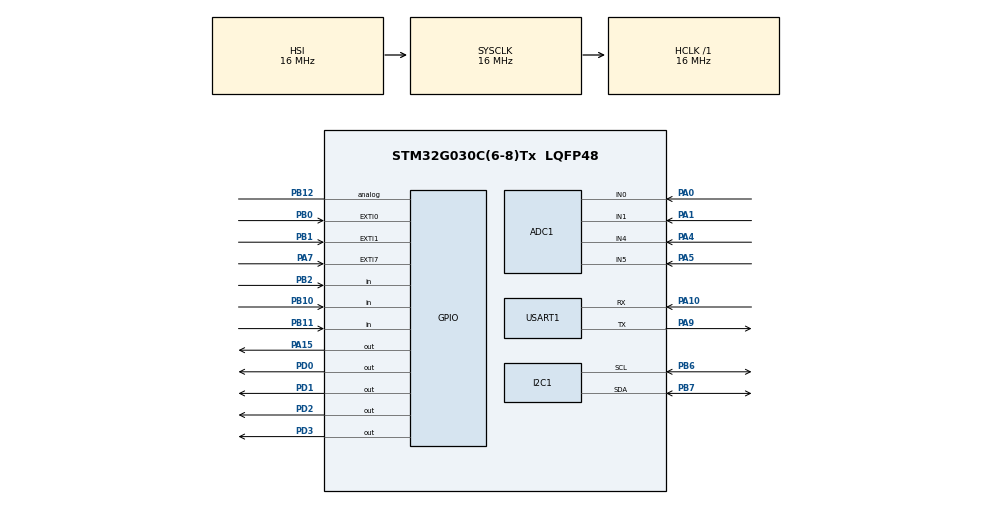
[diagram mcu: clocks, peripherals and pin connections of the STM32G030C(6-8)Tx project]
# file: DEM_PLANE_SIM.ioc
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ADC1.Channel-0\#ChannelRegularConversion=ADC_CHANNEL_0
ADC1.Channel-1\#ChannelRegularConversion=ADC_CHANNEL_1
ADC1.Channel-2\#ChannelRegularConversion=ADC_CHANNEL_4
ADC1.Channel-3\#ChannelRegularConversion=ADC_CHANNEL_5
ADC1.NbrOfConversion=4
ADC1.NbrOfConversionFlag=1
ADC1.Rank-0\#ChannelRegularConversion=1
ADC1.Rank-1\#ChannelRegularConversion=2
ADC1.Rank-2\#ChannelRegularConversion=3
ADC1.Rank-3\#ChannelRegularConversion=4
ADC1.SamplingTime-0\#ChannelRegularConversion=ADC_SAMPLINGTIME_COMMON_1
ADC1.SamplingTime-1\#ChannelRegularConversion=ADC_SAMPLINGTIME_COMMON_1
ADC1.SamplingTime-2\#ChannelRegularConversion=ADC_SAMPLINGTIME_COMMON_1
ADC1.SamplingTime-3\#ChannelRegularConversion=ADC_SAMPLINGTIME_COMMON_1
ADC1.SelectedChannel=ADC_CHANNEL_0|ADC_CHANNEL_1|ADC_CHANNEL_4|ADC_CHANNEL_5
ADC1.master=1
I2C1.Timing=0x00503D58
Mcu.Family=STM32G0
Mcu.Name=STM32G030C(6-8)Tx
Mcu.Package=LQFP48
PA0.Mode=IN0
PA0.Signal=ADC1_IN0
PA1.Mode=IN1
PA1.Signal=ADC1_IN1
PA10.Mode=Asynchronous
PA10.Signal=USART1_RX
PA13.Mode=Serial_Wire
PA13.Signal=SYS_SWDIO
PA14-BOOT0.Mode=Serial_Wire
PA14-BOOT0.Signal=SYS_SWCLK
PA15.Signal=GPIO_Output
PA4.Mode=IN4
PA4.Signal=ADC1_IN4
PA5.Mode=IN5
PA5.Signal=ADC1_IN5
PA7.Signal=GPXTI7
PA9.Mode=Asynchronous
PA9.Signal=USART1_TX
PB0.Signal=GPXTI0
PB1.Signal=GPXTI1
PB10.GPIO_PuPd=GPIO_PULLUP
PB10.Signal=GPIO_Input
PB11.GPIO_PuPd=GPIO_PULLUP
PB11.Signal=GPIO_Input
PB12.Signal=GPIO_Analog
PB2.GPIO_PuPd=GPIO_PULLUP
PB2.Signal=GPIO_Input
PB6.Mode=I2C
PB6.Signal=I2C1_SCL
PB7.Mode=I2C
PB7.Signal=I2C1_SDA
PD0.Signal=GPIO_Output
PD1.Signal=GPIO_Output
PD2.Signal=GPIO_Output
PD3.Signal=GPIO_Output
PF0-OSC_IN\ (PF0).Mode=HSE-External-Oscillator
PF0-OSC_IN\ (PF0).Signal=RCC_OSC_IN
PF1-OSC_OUT\ (PF1).Mode=HSE-External-Oscillator
PF1-OSC_OUT\ (PF1).Signal=RCC_OSC_OUT
ProjectManager.HeapSize=0x200
ProjectManager.StackSize=0x400
ProjectManager.TargetToolchain=STM32CubeIDE
RCC.AHBFreq_Value=16000000
RCC.CortexFreq_Value=16000000
RCC.EXTERNAL_CLOCK_VALUE=12288000
RCC.HCLKFreq_Value=16000000
RCC.HSE_VALUE=8000000
RCC.HSI_VALUE=16000000
RCC.LSE_VALUE=32768
RCC.SYSCLKFreq_VALUE=16000000
RCC.VCOOutputFreq_Value=128000000
USART1.VirtualMode-Asynchronous=VM_ASYNC
board=custom

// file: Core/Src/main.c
/* USER CODE BEGIN Header */
/**
  ******************************************************************************
  * @file           : main.c
  * @brief          : Main program body
  ******************************************************************************
  * @attention
  *
  * Copyright (c) 2025 STMicroelectronics.
  * All rights reserved.
  *
  * This software is licensed under terms that can be found in the LICENSE file
  * in the root directory of this software component.
  * If no LICENSE file comes with this software, it is provided AS-IS.
  *
  ******************************************************************************
  */
/* USER CODE END Header */
#include "main.h"

/* USER CODE BEGIN Includes */
#include <math.h>
#include <string.h>
#include <stdio.h>
#include "lis2dw12_reg.h"
/* USER CODE END Includes */

ADC_HandleTypeDef hadc1;

I2C_HandleTypeDef hi2c1;

UART_HandleTypeDef huart1;

/* USER CODE BEGIN PV */
uint16_t ADC_VAL[4];
uint16_t CamX;
uint16_t CamY;
uint16_t Throttle;
uint16_t Yaw;

HAL_StatusTypeDef ret = HAL_ERROR;
uint8_t rec_buf[10] = { 0 };
int isADCFinished = 0;
int count = 0;

typedef struct {
    float roll;
    float pitch;
} Angles;

Angles angle;

volatile uint64_t SYSTickTimer = 0; //Sistemin zamanlayıcısının (SysTick) sayaç değeri için kullanılır. Zamanlayıcı tabanlı olayları izlemek için kullanılır.

stmdev_ctx_t dev_ctx; // Bir sensör veya cihazla ilgili işlemleri yönetmek için kullanılan bir yapı.

static int16_t data_raw_acceleration[3]; // İvmeölçerden gelen ham ivme verilerini tutar.
static float acceleration_mg[3]; //Ham ivme verilerini milig cinsine çevirip saklar
static uint8_t whoamI, rst; //Bir sensörün veya cihazın sıfırlama durumunu izlemek için kullanılır.
SystemClockTimer_t SysClkTim;  // Gerçek tanımlama burada!

/* USER CODE END PV */

void SystemClock_Config(void);
static void MX_GPIO_Init(void);
static void MX_USART1_UART_Init(void);
static void MX_ADC1_Init(void);
static void MX_I2C1_Init(void);
/* USER CODE BEGIN PFP */
static int32_t platform_write(void *handle, uint8_t reg, const uint8_t *bufp, uint16_t len);
static int32_t platform_read(void *handle, uint8_t reg, uint8_t *bufp, uint16_t len);

uint16_t Trimpot_to_Angle(uint16_t trimpotValue) {
    return (trimpotValue * 360) / 4095;
}

uint16_t Joystick_to_Percentage(uint16_t angle) {
    return (angle * 100) / 4095;
}

Angles calculateAngles(float x, float y, float z) {
    Angles angles;
    angles.roll = atan2(y, z) * 180.0 / M_PI;
    angles.pitch = atan2(-x, sqrt(y * y + z * z)) * 180.0 / M_PI;

    if (angles.roll < 0) angles.roll += 360;
    if (angles.pitch < 0) angles.pitch += 360;

    return angles;
}

/* USER CODE END PFP */

/* USER CODE BEGIN 0 */
void HAL_ADC_ConvCpltCallback(ADC_HandleTypeDef *hadc) {
    isADCFinished = 1;
}
/* USER CODE END 0 */

int main(void)
{

  /* MCU Configuration--------------------------------------------------------*/

  /* Reset of all peripherals, Initializes the Flash interface and the Systick. */
  HAL_Init();

  /* Configure the system clock */
  SystemClock_Config();

  /* Initialize all configured peripherals */
  MX_GPIO_Init();
  MX_USART1_UART_Init();
  MX_ADC1_Init();
  MX_I2C1_Init();
  /* USER CODE BEGIN 2 */
  dev_ctx.write_reg = platform_write;
  dev_ctx.read_reg = platform_read;
  dev_ctx.handle = &hi2c1;

  lis2dw12_device_id_get(&dev_ctx, &whoamI);
  lis2dw12_reset_set(&dev_ctx, PROPERTY_ENABLE);

  do {
      lis2dw12_reset_get(&dev_ctx, &rst);
  } while (rst);

  lis2dw12_block_data_update_set(&dev_ctx, PROPERTY_ENABLE);
  lis2dw12_full_scale_set(&dev_ctx, LIS2DW12_2g);
  lis2dw12_filter_path_set(&dev_ctx, LIS2DW12_LPF_ON_OUT);
  lis2dw12_filter_bandwidth_set(&dev_ctx, LIS2DW12_ODR_DIV_4);
  lis2dw12_power_mode_set(&dev_ctx, LIS2DW12_HIGH_PERFORMANCE);
  lis2dw12_data_rate_set(&dev_ctx, LIS2DW12_XL_ODR_25Hz);
  HAL_ADC_Start_DMA(&hadc1, (uint32_t*) ADC_VAL, 4);
  /* USER CODE END 2 */

  /* Infinite loop */
  /* USER CODE BEGIN WHILE */
  while (1)
  {
    count++;
    HAL_Delay(250);
    if (isADCFinished == 1) {
        isADCFinished = 0;
        HAL_ADC_Start_DMA(&hadc1, (uint32_t*)ADC_VAL, 4);
    }
    CamX = Trimpot_to_Angle(ADC_VAL[0]);
    CamY = Trimpot_to_Angle(ADC_VAL[1]);
    Throttle = Joystick_to_Percentage(ADC_VAL[2]);
    Yaw = Joystick_to_Percentage(ADC_VAL[3]);

    uint8_t reg;
    lis2dw12_flag_data_ready_get(&dev_ctx, &reg);

    if (reg) {
        memset(data_raw_acceleration, 0, sizeof(data_raw_acceleration));
        lis2dw12_acceleration_raw_get(&dev_ctx, data_raw_acceleration);
        acceleration_mg[0] = lis2dw12_from_fs2_to_mg(data_raw_acceleration[0]);
        acceleration_mg[1] = lis2dw12_from_fs2_to_mg(data_raw_acceleration[1]);
        acceleration_mg[2] = lis2dw12_from_fs2_to_mg(data_raw_acceleration[2]);
    }
    angle = calculateAngles(acceleration_mg[1], acceleration_mg[0], acceleration_mg[2]);

    if (SysClkTim._50msn == 1) {
        if (HAL_GPIO_ReadPin(GPIOB, GPIO_PIN_11) == 0) {
            HAL_GPIO_WritePin(GPIOD, GPIO_PIN_0, 1);
        } else {
            HAL_GPIO_WritePin(GPIOD, GPIO_PIN_0, 0);
        }
        if (HAL_GPIO_ReadPin(GPIOB, GPIO_PIN_10) == 0) {
            HAL_GPIO_WritePin(GPIOD, GPIO_PIN_1, 1);
        } else {
            HAL_GPIO_WritePin(GPIOD, GPIO_PIN_1, 0);
        }
        if (HAL_GPIO_ReadPin(GPIOB, GPIO_PIN_2) == 0) {
            HAL_GPIO_WritePin(GPIOD, GPIO_PIN_2, 1);
        } else {
            HAL_GPIO_WritePin(GPIOD, GPIO_PIN_2, 0);
        }
        if (HAL_GPIO_ReadPin(GPIOB, GPIO_PIN_1) == 0) {
            HAL_GPIO_WritePin(GPIOD, GPIO_PIN_3, 1);
        } else {
            HAL_GPIO_WritePin(GPIOD, GPIO_PIN_3, 0);
        }
    }
    /* USER CODE END WHILE */

  }
}

void SystemClock_Config(void)
{
  RCC_OscInitTypeDef RCC_OscInitStruct = {0};
  RCC_ClkInitTypeDef RCC_ClkInitStruct = {0};

  /** Configure the main internal regulator output voltage
  */
  HAL_PWREx_ControlVoltageScaling(PWR_REGULATOR_VOLTAGE_SCALE1);

  /** Initializes the RCC Oscillators according to the specified parameters
  * in the RCC_OscInitTypeDef structure.
  */
  RCC_OscInitStruct.OscillatorType = RCC_OSCILLATORTYPE_HSI;
  RCC_OscInitStruct.HSIState = RCC_HSI_ON;
  RCC_OscInitStruct.HSIDiv = RCC_HSI_DIV1;
  RCC_OscInitStruct.HSICalibrationValue = RCC_HSICALIBRATION_DEFAULT;
  RCC_OscInitStruct.PLL.PLLState = RCC_PLL_NONE;
  if (HAL_RCC_OscConfig(&RCC_OscInitStruct) != HAL_OK)
  {
    Error_Handler();
  }

  /** Initializes the CPU, AHB and APB buses clocks
  */
  RCC_ClkInitStruct.ClockType = RCC_CLOCKTYPE_HCLK|RCC_CLOCKTYPE_SYSCLK
                              |RCC_CLOCKTYPE_PCLK1;
  RCC_ClkInitStruct.SYSCLKSource = RCC_SYSCLKSOURCE_HSI;
  RCC_ClkInitStruct.AHBCLKDivider = RCC_SYSCLK_DIV1;
  RCC_ClkInitStruct.APB1CLKDivider = RCC_HCLK_DIV1;

  if (HAL_RCC_ClockConfig(&RCC_ClkInitStruct, FLASH_LATENCY_0) != HAL_OK)
  {
    Error_Handler();
  }
}

static void MX_ADC1_Init(void)
{

  ADC_ChannelConfTypeDef sConfig = {0};

  /** Configure the global features of the ADC (Clock, Resolution, Data Alignment and number of conversion)
  */
  hadc1.Instance = ADC1;
  hadc1.Init.ClockPrescaler = ADC_CLOCK_SYNC_PCLK_DIV2;
  hadc1.Init.Resolution = ADC_RESOLUTION_12B;
  hadc1.Init.DataAlign = ADC_DATAALIGN_RIGHT;
  hadc1.Init.ScanConvMode = ADC_SCAN_ENABLE;
  hadc1.Init.EOCSelection = ADC_EOC_SINGLE_CONV;
  hadc1.Init.LowPowerAutoWait = DISABLE;
  hadc1.Init.LowPowerAutoPowerOff = DISABLE;
  hadc1.Init.ContinuousConvMode = DISABLE;
  hadc1.Init.NbrOfConversion = 4;
  hadc1.Init.DiscontinuousConvMode = DISABLE;
  hadc1.Init.ExternalTrigConv = ADC_SOFTWARE_START;
  hadc1.Init.ExternalTrigConvEdge = ADC_EXTERNALTRIGCONVEDGE_NONE;
  hadc1.Init.DMAContinuousRequests = DISABLE;
  hadc1.Init.Overrun = ADC_OVR_DATA_PRESERVED;
  hadc1.Init.SamplingTimeCommon1 = ADC_SAMPLETIME_1CYCLE_5;
  hadc1.Init.SamplingTimeCommon2 = ADC_SAMPLETIME_1CYCLE_5;
  hadc1.Init.OversamplingMode = DISABLE;
  hadc1.Init.TriggerFrequencyMode = ADC_TRIGGER_FREQ_HIGH;
  if (HAL_ADC_Init(&hadc1) != HAL_OK)
  {
    Error_Handler();
  }

  /** Configure Regular Channel
  */
  sConfig.Channel = ADC_CHANNEL_0;
  sConfig.Rank = ADC_REGULAR_RANK_1;
  sConfig.SamplingTime = ADC_SAMPLINGTIME_COMMON_1;
  if (HAL_ADC_ConfigChannel(&hadc1, &sConfig) != HAL_OK)
  {
    Error_Handler();
  }

  /** Configure Regular Channel
  */
  sConfig.Channel = ADC_CHANNEL_1;
  sConfig.Rank = ADC_REGULAR_RANK_2;
  if (HAL_ADC_ConfigChannel(&hadc1, &sConfig) != HAL_OK)
  {
    Error_Handler();
  }

  /** Configure Regular Channel
  */
  sConfig.Channel = ADC_CHANNEL_4;
  sConfig.Rank = ADC_REGULAR_RANK_3;
  if (HAL_ADC_ConfigChannel(&hadc1, &sConfig) != HAL_OK)
  {
    Error_Handler();
  }

  /** Configure Regular Channel
  */
  sConfig.Channel = ADC_CHANNEL_5;
  sConfig.Rank = ADC_REGULAR_RANK_4;
  if (HAL_ADC_ConfigChannel(&hadc1, &sConfig) != HAL_OK)
  {
    Error_Handler();
  }

}

static void MX_I2C1_Init(void)
{

  hi2c1.Instance = I2C1;
  hi2c1.Init.Timing = 0x00503D58;
  hi2c1.Init.OwnAddress1 = 0;
  hi2c1.Init.AddressingMode = I2C_ADDRESSINGMODE_7BIT;
  hi2c1.Init.DualAddressMode = I2C_DUALADDRESS_DISABLE;
  hi2c1.Init.OwnAddress2 = 0;
  hi2c1.Init.OwnAddress2Masks = I2C_OA2_NOMASK;
  hi2c1.Init.GeneralCallMode = I2C_GENERALCALL_DISABLE;
  hi2c1.Init.NoStretchMode = I2C_NOSTRETCH_DISABLE;
  if (HAL_I2C_Init(&hi2c1) != HAL_OK)
  {
    Error_Handler();
  }

  /** Configure Analogue filter
  */
  if (HAL_I2CEx_ConfigAnalogFilter(&hi2c1, I2C_ANALOGFILTER_ENABLE) != HAL_OK)
  {
    Error_Handler();
  }

  /** Configure Digital filter
  */
  if (HAL_I2CEx_ConfigDigitalFilter(&hi2c1, 0) != HAL_OK)
  {
    Error_Handler();
  }

}

static void MX_USART1_UART_Init(void)
{

  huart1.Instance = USART1;
  huart1.Init.BaudRate = 115200;
  huart1.Init.WordLength = UART_WORDLENGTH_8B;
  huart1.Init.StopBits = UART_STOPBITS_1;
  huart1.Init.Parity = UART_PARITY_NONE;
  huart1.Init.Mode = UART_MODE_TX_RX;
  huart1.Init.HwFlowCtl = UART_HWCONTROL_NONE;
  huart1.Init.OverSampling = UART_OVERSAMPLING_16;
  huart1.Init.OneBitSampling = UART_ONE_BIT_SAMPLE_DISABLE;
  huart1.Init.ClockPrescaler = UART_PRESCALER_DIV1;
  huart1.AdvancedInit.AdvFeatureInit = UART_ADVFEATURE_NO_INIT;
  if (HAL_UART_Init(&huart1) != HAL_OK)
  {
    Error_Handler();
  }
  if (HAL_UARTEx_SetTxFifoThreshold(&huart1, UART_TXFIFO_THRESHOLD_1_8) != HAL_OK)
  {
    Error_Handler();
  }
  if (HAL_UARTEx_SetRxFifoThreshold(&huart1, UART_RXFIFO_THRESHOLD_1_8) != HAL_OK)
  {
    Error_Handler();
  }
  if (HAL_UARTEx_DisableFifoMode(&huart1) != HAL_OK)
  {
    Error_Handler();
  }

}

static void MX_GPIO_Init(void)
{
  GPIO_InitTypeDef GPIO_InitStruct = {0};

  /* GPIO Ports Clock Enable */
  __HAL_RCC_GPIOF_CLK_ENABLE();
  __HAL_RCC_GPIOA_CLK_ENABLE();
  __HAL_RCC_GPIOB_CLK_ENABLE();
  __HAL_RCC_GPIOD_CLK_ENABLE();

  /*Configure GPIO pin Output Level */
  HAL_GPIO_WritePin(GPIOA, GPIO_PIN_15, GPIO_PIN_RESET);

  /*Configure GPIO pin Output Level */
  HAL_GPIO_WritePin(GPIOD, GPIO_PIN_0|GPIO_PIN_1|GPIO_PIN_2|GPIO_PIN_3, GPIO_PIN_RESET);

  /*Configure GPIO pin : PA7 */
  GPIO_InitStruct.Pin = GPIO_PIN_7;
  GPIO_InitStruct.Mode = GPIO_MODE_IT_RISING;
  GPIO_InitStruct.Pull = GPIO_NOPULL;
  HAL_GPIO_Init(GPIOA, &GPIO_InitStruct);

  /*Configure GPIO pins : PB0 PB1 */
  GPIO_InitStruct.Pin = GPIO_PIN_0|GPIO_PIN_1;
  GPIO_InitStruct.Mode = GPIO_MODE_IT_RISING;
  GPIO_InitStruct.Pull = GPIO_NOPULL;
  HAL_GPIO_Init(GPIOB, &GPIO_InitStruct);

  /*Configure GPIO pins : PB2 PB10 PB11 */
  GPIO_InitStruct.Pin = GPIO_PIN_2|GPIO_PIN_10|GPIO_PIN_11;
  GPIO_InitStruct.Mode = GPIO_MODE_INPUT;
  GPIO_InitStruct.Pull = GPIO_PULLUP;
  HAL_GPIO_Init(GPIOB, &GPIO_InitStruct);

  /*Configure GPIO pin : PB12 */
  GPIO_InitStruct.Pin = GPIO_PIN_12;
  GPIO_InitStruct.Mode = GPIO_MODE_ANALOG;
  GPIO_InitStruct.Pull = GPIO_NOPULL;
  HAL_GPIO_Init(GPIOB, &GPIO_InitStruct);

  /*Configure GPIO pin : PA15 */
  GPIO_InitStruct.Pin = GPIO_PIN_15;
  GPIO_InitStruct.Mode = GPIO_MODE_OUTPUT_PP;
  GPIO_InitStruct.Pull = GPIO_NOPULL;
  GPIO_InitStruct.Speed = GPIO_SPEED_FREQ_LOW;
  HAL_GPIO_Init(GPIOA, &GPIO_InitStruct);

  /*Configure GPIO pins : PD0 PD1 PD2 PD3 */
  GPIO_InitStruct.Pin = GPIO_PIN_0|GPIO_PIN_1|GPIO_PIN_2|GPIO_PIN_3;
  GPIO_InitStruct.Mode = GPIO_MODE_OUTPUT_PP;
  GPIO_InitStruct.Pull = GPIO_NOPULL;
  GPIO_InitStruct.Speed = GPIO_SPEED_FREQ_LOW;
  HAL_GPIO_Init(GPIOD, &GPIO_InitStruct);

}

/* USER CODE BEGIN 4 */
// SysTick Zamanlayıcı Geri Çağırma Fonksiyonu
void HAL_SYSTICK_Callback(void) {
	SYSTickTimer++;

	if (SYSTickTimer % 1 == 0) {
		SysClkTim._1msn = 1;
	}
	if (SYSTickTimer % 10 == 0) {
		SysClkTim._10msn = 1;
	}
	if (SYSTickTimer % 50 == 0) {
		SysClkTim._50msn = 1;
	}
	if (SYSTickTimer % 100 == 0) {
		SysClkTim._100msn = 1;
	}
	if (SYSTickTimer % 250 == 0) {
		SysClkTim._250msn = 1;
	}
	if (SYSTickTimer % 500 == 0) {
		SysClkTim._500msn = 1;
	}
	if (SYSTickTimer % 750 == 0) {
		SysClkTim._750msn = 1;
	}
	if (SYSTickTimer % 1000 == 0) {
		SysClkTim._1sn = 1;
	}
	if (SYSTickTimer % 2000 == 0) {
		SysClkTim._2sn = 1;
	}
	if (SYSTickTimer % 5000 == 0) {
		SysClkTim._5sn = 1;
	}

}
//platform_write ve platform_read Fonksiyonları
static int32_t platform_write(void *handle, uint8_t reg, const uint8_t *bufp,
		uint16_t len) {
	HAL_I2C_Mem_Write(handle, LIS2DW12_I2C_ADD_H, reg,
	I2C_MEMADD_SIZE_8BIT, (uint8_t*) bufp, len, 1000);

	return 0;
}
/*
 * @brief Read generic device register (platform dependent)
 *
 * @param handle customizable argument. In this examples is used in
 * order to select the correct sensor bus handler.
 * @param reg register to read
 * @param bufp pointer to buffer that store the data read
 * @param len number of consecutive register to read
 *
 */static int32_t platform_read(void *handle, uint8_t reg, uint8_t *bufp,
		uint16_t len) {
	HAL_I2C_Mem_Read(handle, LIS2DW12_I2C_ADD_H, reg,
	I2C_MEMADD_SIZE_8BIT, bufp, len, 1000);
	return 0;
}
/* USER CODE END 4 */

void Error_Handler(void)
{
  __disable_irq();
  while (1)
  {
  }
}
